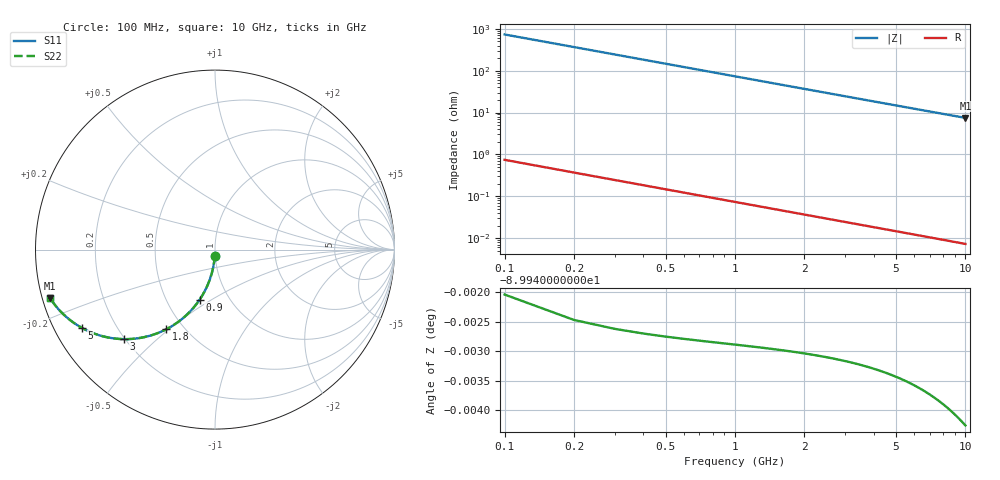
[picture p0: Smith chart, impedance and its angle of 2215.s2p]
# Hz S RI R 50.00
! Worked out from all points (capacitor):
!   100 points, 100 MHz to 10 GHz, reference 50 ohm
!   read as one part in shunt: C = 2.17 pF near 100 MHz
!   lowest |Z| = 7.47 ohm at 10 GHz (marker M1)
!   S11 on the Smith chart (normalised r, x): 100 MHz: 1.00, -0.07; 900 MHz: 0.73, -0.44; 1.8 GHz: 0.40, -0.49; 3 GHz: 0.19, -0.40; 5 GHz: 0.08, -0.27; 10 GHz: 0.02, -0.14
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1e8  -0.00118 -0.034  0.9988 -0.034  0.9988 -0.034  -0.00118 -0.034
2e8  -0.00467 -0.0677  0.9953 -0.0678  0.9953 -0.0678  -0.00467 -0.0677
3e8  -0.0104 -0.101  0.9896 -0.1011  0.9896 -0.1011  -0.0104 -0.101
4e8  -0.0183 -0.1335  0.9817 -0.1337  0.9817 -0.1337  -0.0183 -0.1335
5e8  -0.0283 -0.1652  0.9717 -0.1654  0.9717 -0.1654  -0.0283 -0.1652
6e8  -0.0402 -0.1958  0.9598 -0.196  0.9598 -0.196  -0.0402 -0.1958
7e8  -0.0539 -0.2251  0.9461 -0.2254  0.9461 -0.2254  -0.0539 -0.2251
9e8  -0.0859 -0.2796  0.9141 -0.2799  0.9141 -0.2799  -0.0859 -0.2796
1.1e9  -0.123 -0.3277  0.877 -0.3282  0.877 -0.3282  -0.123 -0.3277
1.3e9  -0.1637 -0.3692  0.8363 -0.3698  0.8363 -0.3698  -0.1637 -0.3692
1.5e9  -0.2066 -0.4041  0.7934 -0.4047  0.7934 -0.4047  -0.2066 -0.4041
1.8e9  -0.2725 -0.4444  0.7275 -0.4451  0.7275 -0.4451  -0.2725 -0.4444
2.4e9  -0.3992 -0.4887  0.6008 -0.4897  0.6008 -0.4897  -0.3992 -0.4887
3e9  -0.5089 -0.4988  0.4911 -0.5  0.4911 -0.5  -0.5089 -0.4988
3.4e9  -0.5706 -0.4938  0.4293 -0.4952  0.4293 -0.4952  -0.5706 -0.4938
4.2e9  -0.6692 -0.4691  0.3308 -0.4709  0.3308 -0.4709  -0.6692 -0.4691
5e9  -0.741 -0.4366  0.259 -0.4386  0.259 -0.4386  -0.741 -0.4366
5.1e9  -0.7484 -0.4323  0.2515 -0.4345  0.2515 -0.4345  -0.7484 -0.4323
5.9e9  -0.7989 -0.3991  0.201 -0.4015  0.201 -0.4015  -0.7989 -0.3991
6.7e9  -0.8365 -0.3679  0.1635 -0.3708  0.1635 -0.3708  -0.8365 -0.3679
8.4e9  -0.889 -0.3118  0.1109 -0.3153  0.1109 -0.3153  -0.889 -0.3118
1e10  -0.9189 -0.2704  0.0811 -0.2746  0.0811 -0.2746  -0.9189 -0.2704
